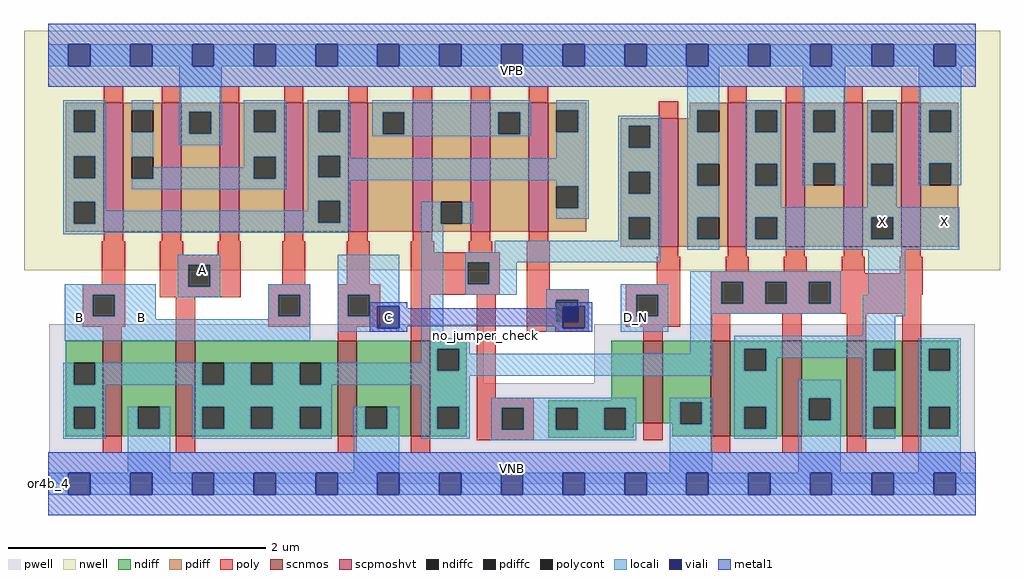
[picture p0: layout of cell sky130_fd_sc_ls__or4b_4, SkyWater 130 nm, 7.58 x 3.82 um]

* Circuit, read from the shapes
.subckt sky130_fd_sc_ls__or4b_4 A B C D_N VGND VNB VPB VPWR X
XM1 VGND B n1 VNB sky130_fd_pr__nfet_01v8 w=0.74 l=0.15
XM2 n1 A VGND VNB sky130_fd_pr__nfet_01v8 w=0.74 l=0.15
XM3 VGND C n1 VNB sky130_fd_pr__nfet_01v8 w=0.74 l=0.15
XM4 n1 n2 VGND VNB sky130_fd_pr__nfet_01v8 w=0.74 l=0.15
XM5 VGND D_N n2 VNB sky130_fd_pr__nfet_01v8 w=0.64 l=0.15
XM6 X n1 VGND VNB sky130_fd_pr__nfet_01v8 w=0.74 l=0.15 m=4
XM7 n3 B n4 VPB sky130_fd_pr__pfet_01v8_hvt w=1 l=0.15 m=2
XM8 VPWR A n3 VPB sky130_fd_pr__pfet_01v8_hvt w=1 l=0.15 m=2
XM9 n5 C n4 VPB sky130_fd_pr__pfet_01v8_hvt w=1 l=0.15 m=2
XM10 n1 n2 n5 VPB sky130_fd_pr__pfet_01v8_hvt w=1 l=0.15 m=2
XM11 VPWR D_N n2 VPB sky130_fd_pr__pfet_01v8_hvt w=1 l=0.15
XM12 X n1 VPWR VPB sky130_fd_pr__pfet_01v8_hvt w=1.12 l=0.15 m=4
.ends

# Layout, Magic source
magic
tech sky130A
magscale 1 2
<< nwell >>
rect -38 332 1478 704
<< pwell >>
rect 1 156 676 248
rect 848 156 1439 248
rect 1 49 1439 156
rect 0 0 1440 49
<< scnmos >>
rect 84 74 114 222
rect 198 74 228 222
rect 449 74 479 222
rect 563 74 593 222
rect 924 94 954 222
rect 1029 74 1059 222
rect 1140 74 1170 222
rect 1240 74 1270 222
rect 1326 74 1356 222
<< scpmoshvt >>
rect 86 392 116 592
rect 176 392 206 592
rect 266 392 296 592
rect 366 392 396 592
rect 466 392 496 592
rect 566 392 596 592
rect 656 392 686 592
rect 746 392 776 592
rect 948 368 978 568
rect 1055 368 1085 592
rect 1145 368 1175 592
rect 1235 368 1265 592
rect 1325 368 1355 592
<< ndiff >>
rect 27 188 84 222
rect 27 154 39 188
rect 73 154 84 188
rect 27 120 84 154
rect 27 86 39 120
rect 73 86 84 120
rect 27 74 84 86
rect 114 120 198 222
rect 114 86 139 120
rect 173 86 198 120
rect 114 74 198 86
rect 228 188 449 222
rect 228 154 239 188
rect 273 154 314 188
rect 348 154 390 188
rect 424 154 449 188
rect 228 120 449 154
rect 228 86 239 120
rect 273 86 314 120
rect 348 86 390 120
rect 424 86 449 120
rect 228 74 449 86
rect 479 120 563 222
rect 479 86 492 120
rect 526 86 563 120
rect 479 74 563 86
rect 593 210 650 222
rect 593 176 604 210
rect 638 176 650 210
rect 593 120 650 176
rect 593 86 604 120
rect 638 86 650 120
rect 593 74 650 86
rect 874 130 924 222
rect 776 118 924 130
rect 776 84 788 118
rect 822 84 863 118
rect 897 94 924 118
rect 954 127 1029 222
rect 954 94 981 127
rect 897 84 909 94
rect 776 72 909 84
rect 969 93 981 94
rect 1015 93 1029 127
rect 969 74 1029 93
rect 1059 210 1140 222
rect 1059 176 1081 210
rect 1115 176 1140 210
rect 1059 120 1140 176
rect 1059 86 1081 120
rect 1115 86 1140 120
rect 1059 74 1140 86
rect 1170 133 1240 222
rect 1170 99 1181 133
rect 1215 99 1240 133
rect 1170 74 1240 99
rect 1270 210 1326 222
rect 1270 176 1281 210
rect 1315 176 1326 210
rect 1270 120 1326 176
rect 1270 86 1281 120
rect 1315 86 1326 120
rect 1270 74 1326 86
rect 1356 210 1413 222
rect 1356 176 1367 210
rect 1401 176 1413 210
rect 1356 120 1413 176
rect 1356 86 1367 120
rect 1401 86 1413 120
rect 1356 74 1413 86
<< pdiff >>
rect 27 580 86 592
rect 27 546 39 580
rect 73 546 86 580
rect 27 509 86 546
rect 27 475 39 509
rect 73 475 86 509
rect 27 438 86 475
rect 27 404 39 438
rect 73 404 86 438
rect 27 392 86 404
rect 116 580 176 592
rect 116 546 129 580
rect 163 546 176 580
rect 116 508 176 546
rect 116 474 129 508
rect 163 474 176 508
rect 116 392 176 474
rect 206 578 266 592
rect 206 544 219 578
rect 253 544 266 578
rect 206 392 266 544
rect 296 580 366 592
rect 296 546 319 580
rect 353 546 366 580
rect 296 508 366 546
rect 296 474 319 508
rect 353 474 366 508
rect 296 392 366 474
rect 396 580 466 592
rect 396 546 419 580
rect 453 546 466 580
rect 396 510 466 546
rect 396 476 419 510
rect 453 476 466 510
rect 396 440 466 476
rect 396 406 419 440
rect 453 406 466 440
rect 396 392 466 406
rect 496 577 566 592
rect 496 543 519 577
rect 553 543 566 577
rect 496 392 566 543
rect 596 438 656 592
rect 596 404 609 438
rect 643 404 656 438
rect 596 392 656 404
rect 686 577 746 592
rect 686 543 699 577
rect 733 543 746 577
rect 686 392 746 543
rect 776 580 835 592
rect 776 546 789 580
rect 823 546 835 580
rect 996 580 1055 592
rect 996 568 1008 580
rect 776 462 835 546
rect 776 428 789 462
rect 823 428 835 462
rect 776 392 835 428
rect 889 556 948 568
rect 889 522 901 556
rect 935 522 948 556
rect 889 485 948 522
rect 889 451 901 485
rect 935 451 948 485
rect 889 414 948 451
rect 889 380 901 414
rect 935 380 948 414
rect 889 368 948 380
rect 978 546 1008 568
rect 1042 546 1055 580
rect 978 497 1055 546
rect 978 463 1008 497
rect 1042 463 1055 497
rect 978 414 1055 463
rect 978 380 1008 414
rect 1042 380 1055 414
rect 978 368 1055 380
rect 1085 580 1145 592
rect 1085 546 1098 580
rect 1132 546 1145 580
rect 1085 497 1145 546
rect 1085 463 1098 497
rect 1132 463 1145 497
rect 1085 414 1145 463
rect 1085 380 1098 414
rect 1132 380 1145 414
rect 1085 368 1145 380
rect 1175 580 1235 592
rect 1175 546 1188 580
rect 1222 546 1235 580
rect 1175 498 1235 546
rect 1175 464 1188 498
rect 1222 464 1235 498
rect 1175 368 1235 464
rect 1265 580 1325 592
rect 1265 546 1278 580
rect 1312 546 1325 580
rect 1265 497 1325 546
rect 1265 463 1278 497
rect 1312 463 1325 497
rect 1265 414 1325 463
rect 1265 380 1278 414
rect 1312 380 1325 414
rect 1265 368 1325 380
rect 1355 580 1413 592
rect 1355 546 1368 580
rect 1402 546 1413 580
rect 1355 498 1413 546
rect 1355 464 1368 498
rect 1402 464 1413 498
rect 1355 368 1413 464
<< ndiffc >>
rect 39 154 73 188
rect 39 86 73 120
rect 139 86 173 120
rect 239 154 273 188
rect 314 154 348 188
rect 390 154 424 188
rect 239 86 273 120
rect 314 86 348 120
rect 390 86 424 120
rect 492 86 526 120
rect 604 176 638 210
rect 604 86 638 120
rect 788 84 822 118
rect 863 84 897 118
rect 981 93 1015 127
rect 1081 176 1115 210
rect 1081 86 1115 120
rect 1181 99 1215 133
rect 1281 176 1315 210
rect 1281 86 1315 120
rect 1367 176 1401 210
rect 1367 86 1401 120
<< pdiffc >>
rect 39 546 73 580
rect 39 475 73 509
rect 39 404 73 438
rect 129 546 163 580
rect 129 474 163 508
rect 219 544 253 578
rect 319 546 353 580
rect 319 474 353 508
rect 419 546 453 580
rect 419 476 453 510
rect 419 406 453 440
rect 519 543 553 577
rect 609 404 643 438
rect 699 543 733 577
rect 789 546 823 580
rect 789 428 823 462
rect 901 522 935 556
rect 901 451 935 485
rect 901 380 935 414
rect 1008 546 1042 580
rect 1008 463 1042 497
rect 1008 380 1042 414
rect 1098 546 1132 580
rect 1098 463 1132 497
rect 1098 380 1132 414
rect 1188 546 1222 580
rect 1188 464 1222 498
rect 1278 546 1312 580
rect 1278 463 1312 497
rect 1278 380 1312 414
rect 1368 546 1402 580
rect 1368 464 1402 498
<< poly >>
rect 86 592 116 618
rect 176 592 206 618
rect 266 592 296 618
rect 366 592 396 618
rect 466 592 496 618
rect 566 592 596 618
rect 656 592 686 618
rect 746 592 776 618
rect 948 568 978 594
rect 1055 592 1085 618
rect 1145 592 1175 618
rect 1235 592 1265 618
rect 1325 592 1355 618
rect 86 377 116 392
rect 176 377 206 392
rect 266 377 296 392
rect 366 377 396 392
rect 466 377 496 392
rect 566 377 596 392
rect 656 377 686 392
rect 746 377 776 392
rect 83 310 119 377
rect 53 294 119 310
rect 53 260 69 294
rect 103 260 119 294
rect 173 356 209 377
rect 263 356 299 377
rect 173 340 299 356
rect 173 306 217 340
rect 251 306 299 340
rect 363 310 399 377
rect 463 310 499 377
rect 563 360 599 377
rect 653 360 689 377
rect 563 344 701 360
rect 563 310 651 344
rect 685 310 701 344
rect 173 290 299 306
rect 341 294 407 310
rect 53 244 119 260
rect 84 222 114 244
rect 198 222 228 290
rect 341 260 357 294
rect 391 260 407 294
rect 341 244 407 260
rect 449 294 515 310
rect 449 260 465 294
rect 499 260 515 294
rect 449 244 515 260
rect 563 294 701 310
rect 743 302 779 377
rect 948 353 978 368
rect 1055 353 1085 368
rect 1145 353 1175 368
rect 1235 353 1265 368
rect 1325 353 1355 368
rect 945 310 981 353
rect 1052 330 1088 353
rect 1142 330 1178 353
rect 1232 330 1268 353
rect 449 222 479 244
rect 563 222 593 294
rect 665 134 695 294
rect 743 286 839 302
rect 743 252 789 286
rect 823 252 839 286
rect 743 236 839 252
rect 897 294 981 310
rect 897 260 913 294
rect 947 260 981 294
rect 897 244 981 260
rect 1029 327 1268 330
rect 1322 327 1358 353
rect 1029 314 1358 327
rect 1029 280 1045 314
rect 1079 280 1113 314
rect 1147 280 1181 314
rect 1215 294 1358 314
rect 1215 280 1356 294
rect 1029 264 1356 280
rect 924 222 954 244
rect 1029 222 1059 264
rect 1140 222 1170 264
rect 1240 222 1270 264
rect 1326 222 1356 264
rect 665 118 754 134
rect 665 84 704 118
rect 738 84 754 118
rect 84 48 114 74
rect 198 48 228 74
rect 449 48 479 74
rect 563 48 593 74
rect 665 68 754 84
rect 924 68 954 94
rect 1029 48 1059 74
rect 1140 48 1170 74
rect 1240 48 1270 74
rect 1326 48 1356 74
<< polycont >>
rect 69 260 103 294
rect 217 306 251 340
rect 651 310 685 344
rect 357 260 391 294
rect 465 260 499 294
rect 789 252 823 286
rect 913 260 947 294
rect 1045 280 1079 314
rect 1113 280 1147 314
rect 1181 280 1215 314
rect 704 84 738 118
<< locali >>
rect 0 649 31 683
rect 65 649 127 683
rect 161 649 223 683
rect 257 649 319 683
rect 353 649 415 683
rect 449 649 511 683
rect 545 649 607 683
rect 641 649 703 683
rect 737 649 799 683
rect 833 649 895 683
rect 929 649 991 683
rect 1025 649 1087 683
rect 1121 649 1183 683
rect 1217 649 1279 683
rect 1313 649 1375 683
rect 1409 649 1440 683
rect 23 580 89 596
rect 23 546 39 580
rect 73 546 89 580
rect 23 509 89 546
rect 23 475 39 509
rect 73 475 89 509
rect 23 438 89 475
rect 129 580 163 596
rect 129 508 163 546
rect 203 578 269 649
rect 203 544 219 578
rect 253 544 269 578
rect 203 526 269 544
rect 303 580 369 596
rect 303 546 319 580
rect 353 546 369 580
rect 303 508 369 546
rect 303 492 319 508
rect 163 474 319 492
rect 353 474 369 508
rect 129 458 369 474
rect 403 580 469 596
rect 403 546 419 580
rect 453 546 469 580
rect 403 510 469 546
rect 503 577 749 596
rect 503 543 519 577
rect 553 543 699 577
rect 733 543 749 577
rect 503 540 749 543
rect 789 580 839 596
rect 823 546 839 580
rect 992 580 1042 649
rect 403 476 419 510
rect 453 506 469 510
rect 789 506 839 546
rect 453 476 839 506
rect 403 472 839 476
rect 23 404 39 438
rect 73 424 89 438
rect 403 440 469 472
rect 403 424 419 440
rect 73 406 419 424
rect 453 406 469 440
rect 789 462 839 472
rect 73 404 469 406
rect 23 390 469 404
rect 579 404 609 438
rect 643 404 659 438
rect 823 428 839 462
rect 789 412 839 428
rect 885 556 951 572
rect 885 522 901 556
rect 935 522 951 556
rect 885 485 951 522
rect 885 451 901 485
rect 935 451 951 485
rect 885 414 951 451
rect 23 388 89 390
rect 201 340 267 356
rect 25 294 167 310
rect 25 260 69 294
rect 103 260 167 294
rect 201 306 217 340
rect 251 306 267 340
rect 201 290 267 306
rect 341 294 407 310
rect 25 256 167 260
rect 341 260 357 294
rect 391 260 407 294
rect 341 256 407 260
rect 25 222 407 256
rect 449 294 545 356
rect 449 260 465 294
rect 499 276 545 294
rect 499 260 511 276
rect 449 242 511 260
rect 449 236 545 242
rect 579 226 613 404
rect 885 380 901 414
rect 935 380 951 414
rect 885 378 951 380
rect 693 360 951 378
rect 992 546 1008 580
rect 992 497 1042 546
rect 992 463 1008 497
rect 992 414 1042 463
rect 992 380 1008 414
rect 992 364 1042 380
rect 1082 580 1138 596
rect 1082 546 1098 580
rect 1132 546 1138 580
rect 1082 497 1138 546
rect 1082 463 1098 497
rect 1132 463 1138 497
rect 1172 580 1238 649
rect 1172 546 1188 580
rect 1222 546 1238 580
rect 1172 498 1238 546
rect 1172 464 1188 498
rect 1222 464 1238 498
rect 1272 580 1318 596
rect 1272 546 1278 580
rect 1312 546 1318 580
rect 1272 497 1318 546
rect 1082 430 1138 463
rect 1272 463 1278 497
rect 1312 463 1318 497
rect 1352 580 1418 649
rect 1352 546 1368 580
rect 1402 546 1418 580
rect 1352 498 1418 546
rect 1352 464 1368 498
rect 1402 464 1418 498
rect 1272 430 1318 463
rect 1082 414 1415 430
rect 1082 380 1098 414
rect 1132 380 1278 414
rect 1312 380 1415 414
rect 1082 364 1415 380
rect 647 344 951 360
rect 647 310 651 344
rect 685 310 727 344
rect 997 314 1231 330
rect 647 294 727 310
rect 773 286 839 302
rect 773 252 789 286
rect 823 276 839 286
rect 773 242 799 252
rect 833 242 839 276
rect 773 236 839 242
rect 889 294 963 310
rect 889 260 913 294
rect 947 260 963 294
rect 889 236 963 260
rect 997 280 1045 314
rect 1079 280 1113 314
rect 1147 280 1181 314
rect 1215 280 1231 314
rect 1273 294 1331 364
rect 997 264 1231 280
rect 579 210 654 226
rect 579 188 604 210
rect 23 154 39 188
rect 73 154 239 188
rect 273 154 314 188
rect 348 154 390 188
rect 424 176 604 188
rect 638 202 654 210
rect 997 202 1031 264
rect 1265 260 1331 294
rect 1265 230 1315 260
rect 638 176 1031 202
rect 424 168 1031 176
rect 1065 210 1315 230
rect 1065 176 1081 210
rect 1115 196 1281 210
rect 1115 176 1131 196
rect 424 154 654 168
rect 23 120 89 154
rect 223 120 440 154
rect 579 120 654 154
rect 23 86 39 120
rect 73 86 89 120
rect 23 70 89 86
rect 123 86 139 120
rect 173 86 189 120
rect 123 17 189 86
rect 223 86 239 120
rect 273 86 314 120
rect 348 86 390 120
rect 424 86 440 120
rect 223 70 440 86
rect 474 86 492 120
rect 526 86 545 120
rect 474 17 545 86
rect 579 86 604 120
rect 638 86 654 120
rect 579 70 654 86
rect 688 118 913 134
rect 688 84 704 118
rect 738 84 788 118
rect 822 84 863 118
rect 897 84 913 118
rect 688 68 913 84
rect 965 127 1031 134
rect 965 93 981 127
rect 1015 93 1031 127
rect 965 17 1031 93
rect 1065 120 1131 176
rect 1265 176 1281 196
rect 1065 86 1081 120
rect 1115 86 1131 120
rect 1065 70 1131 86
rect 1165 133 1231 162
rect 1165 99 1181 133
rect 1215 99 1231 133
rect 1165 17 1231 99
rect 1265 120 1315 176
rect 1265 86 1281 120
rect 1265 70 1315 86
rect 1351 210 1417 226
rect 1351 176 1367 210
rect 1401 176 1417 210
rect 1351 120 1417 176
rect 1351 86 1367 120
rect 1401 86 1417 120
rect 1351 17 1417 86
rect 0 -17 31 17
rect 65 -17 127 17
rect 161 -17 223 17
rect 257 -17 319 17
rect 353 -17 415 17
rect 449 -17 511 17
rect 545 -17 607 17
rect 641 -17 703 17
rect 737 -17 799 17
rect 833 -17 895 17
rect 929 -17 991 17
rect 1025 -17 1087 17
rect 1121 -17 1183 17
rect 1217 -17 1279 17
rect 1313 -17 1375 17
rect 1409 -17 1440 17
<< viali >>
rect 31 649 65 683
rect 127 649 161 683
rect 223 649 257 683
rect 319 649 353 683
rect 415 649 449 683
rect 511 649 545 683
rect 607 649 641 683
rect 703 649 737 683
rect 799 649 833 683
rect 895 649 929 683
rect 991 649 1025 683
rect 1087 649 1121 683
rect 1183 649 1217 683
rect 1279 649 1313 683
rect 1375 649 1409 683
rect 511 242 545 276
rect 799 252 823 276
rect 823 252 833 276
rect 799 242 833 252
rect 31 -17 65 17
rect 127 -17 161 17
rect 223 -17 257 17
rect 319 -17 353 17
rect 415 -17 449 17
rect 511 -17 545 17
rect 607 -17 641 17
rect 703 -17 737 17
rect 799 -17 833 17
rect 895 -17 929 17
rect 991 -17 1025 17
rect 1087 -17 1121 17
rect 1183 -17 1217 17
rect 1279 -17 1313 17
rect 1375 -17 1409 17
<< metal1 >>
rect 0 683 1440 715
rect 0 649 31 683
rect 65 649 127 683
rect 161 649 223 683
rect 257 649 319 683
rect 353 649 415 683
rect 449 649 511 683
rect 545 649 607 683
rect 641 649 703 683
rect 737 649 799 683
rect 833 649 895 683
rect 929 649 991 683
rect 1025 649 1087 683
rect 1121 649 1183 683
rect 1217 649 1279 683
rect 1313 649 1375 683
rect 1409 649 1440 683
rect 0 617 1440 649
rect 499 276 557 282
rect 499 242 511 276
rect 545 273 557 276
rect 787 276 845 282
rect 787 273 799 276
rect 545 245 799 273
rect 545 242 557 245
rect 499 236 557 242
rect 787 242 799 245
rect 833 242 845 276
rect 787 236 845 242
rect 0 17 1440 49
rect 0 -17 31 17
rect 65 -17 127 17
rect 161 -17 223 17
rect 257 -17 319 17
rect 353 -17 415 17
rect 449 -17 511 17
rect 545 -17 607 17
rect 641 -17 703 17
rect 737 -17 799 17
rect 833 -17 895 17
rect 929 -17 991 17
rect 1025 -17 1087 17
rect 1121 -17 1183 17
rect 1217 -17 1279 17
rect 1313 -17 1375 17
rect 1409 -17 1440 17
rect 0 -49 1440 -17
<< labels >>
rlabel comment s 0 0 0 0 4 or4b_4
flabel comment s 679 230 679 230 0 FreeSans 200 0 0 0 no_jumper_check
flabel pwell s 0 0 1440 49 0 FreeSans 200 0 0 0 VNB
port 6 nsew ground bidirectional
flabel nwell s 0 617 1440 666 0 FreeSans 200 0 0 0 VPB
port 7 nsew power bidirectional
flabel metal1 s 511 242 545 276 0 FreeSans 340 0 0 0 C
port 3 nsew signal input
flabel metal1 s 0 617 1440 666 0 FreeSans 340 0 0 0 VPWR
port 8 nsew power bidirectional abutment
flabel metal1 s 0 0 1440 49 0 FreeSans 340 0 0 0 VGND
port 5 nsew ground bidirectional abutment
flabel locali s 31 242 65 276 0 FreeSans 340 0 0 0 B
port 2 nsew signal input
flabel locali s 127 242 161 276 0 FreeSans 340 0 0 0 B
port 2 nsew signal input
flabel locali s 223 316 257 350 0 FreeSans 340 0 0 0 A
port 1 nsew signal input
flabel locali s 1279 390 1313 424 0 FreeSans 340 0 0 0 X
port 9 nsew signal output
flabel locali s 1375 390 1409 424 0 FreeSans 340 0 0 0 X
port 9 nsew signal output
flabel locali s 895 242 929 276 0 FreeSans 340 0 0 0 D_N
port 4 nsew signal input
<< properties >>
string LEFsite unit
string LEFclass CORE
string FIXED_BBOX 0 0 1440 666
string GDS_FILE $PDKPATH/libs.ref/sky130_fd_sc_ls/gds/sky130_fd_sc_ls.gds
string LEFsymmetry X Y
string GDS_END 2414096
string GDS_START 2401716
<< end >>
